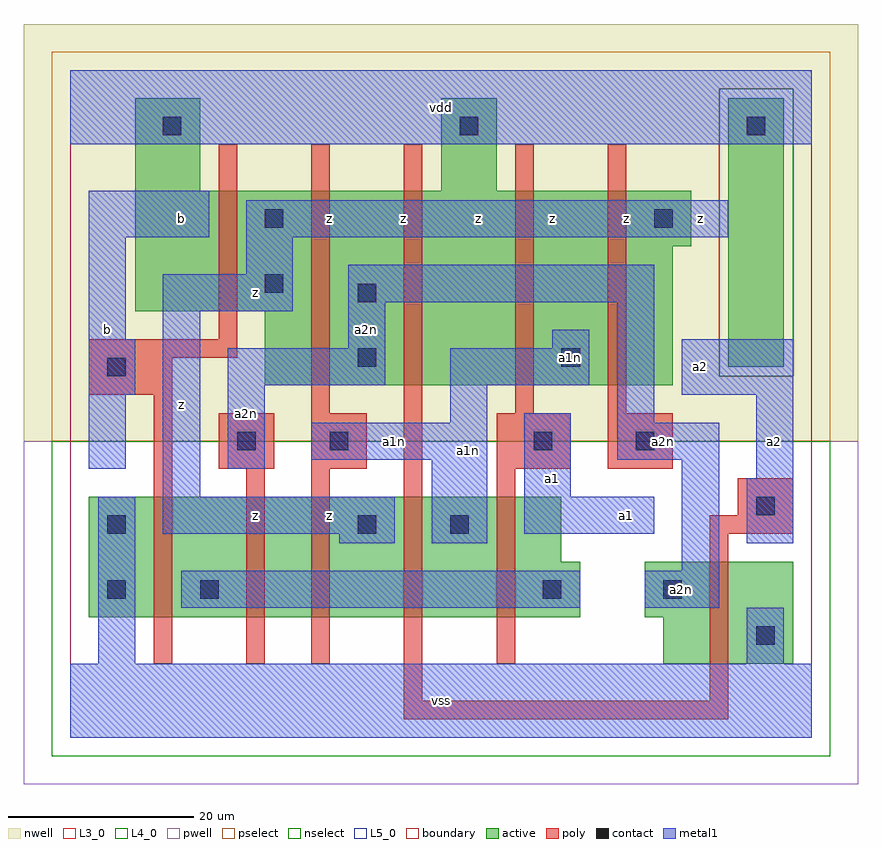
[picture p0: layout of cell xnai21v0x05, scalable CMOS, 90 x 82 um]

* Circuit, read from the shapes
.subckt xnai21v0x05 a1 a1n a2 a2n b vdd vss z
M1 n1 b vss VSUBS nfet w=13u l=2u
M2 n2 a2n n1 VSUBS nfet w=13u l=2u
M3 z a1n n2 VSUBS nfet w=13u l=2u
M4 a1n a2 z VSUBS nfet w=13u l=2u
M5 n1 a1 a1n VSUBS nfet w=13u l=2u
M6 vss a2 a2n VSUBS nfet w=11u l=2u
M7 z b vdd vdd pfet w=13u l=2u
M8 a2n a1n z vdd pfet w=21u l=2u
M9 vdd a2 a2n vdd pfet w=21u l=2u
M10 a1n a1 vdd vdd pfet w=21u l=2u
M11 z a2n a1n vdd pfet w=21u l=2u
.ends

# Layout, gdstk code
import gdstk
lib = gdstk.Library(unit=1e-6, precision=1e-09)
def R(c, l, rs):  # rectangles x0, y0, x1, y1
    for r in rs: c.add(gdstk.rectangle(r[:2], r[2:], *l))
L3_0 = (3, 0)
L4_0 = (4, 0)
L5_0 = (5, 0)
contact = (25, 0)
pwell = (41, 0)
nwell = (42, 0)
active = (43, 0)
pselect = (44, 0)
nselect = (45, 0)
poly = (46, 0)
metal1 = (49, 0)
boundary = (63, 0)

xnai21v0x05 = lib.new_cell('xnai21v0x05')
R(xnai21v0x05, L3_0, [(64,8,78,13), (2,13,55,19), (62,13,78,19), (2,19,53,26)])
R(xnai21v0x05, L4_0, [(21,38,65,46), (7,46,65,53), (7,53,67,59), (7,59,14,69), (40,59,46,69)])
R(xnai21v0x05, L5_0, [(71,40,77,69)])
R(xnai21v0x05, contact, [(74,10,76,12), (4,15,6,17), (14,15,16,17), (51,15,53,17), (64,15,66,17), (4,22,6,24), (31,22,33,24), (41,22,43,24), (74,24,76,26), (18,31,20,33), (28,31,30,33), (50,31,52,33), (61,31,63,33), (4,39,6,41), (31,40,33,42), (53,40,55,42), (31,47,33,49), (21,48,23,50), (21,55,23,57), (63,55,65,57), (10,65,12,67), (42,65,44,67), (73,65,75,67)])
R(xnai21v0x05, pwell, [(-5,-5,85,32)])
R(xnai21v0x05, nwell, [(-5,32,85,77)])
R(xnai21v0x05, active, [(64,8,78,13), (2,13,55,19), (62,13,78,19), (2,19,53,26), (21,38,65,46), (71,40,77,69), (7,46,65,53), (7,53,67,59), (7,59,14,69), (40,59,46,69)])
R(xnai21v0x05, pselect, [(-2,32,82,39), (-2,39,70,70), (78,39,82,70), (-2,70,82,74)])
R(xnai21v0x05, nselect, [(-2,-2,82,32), (70,39,78,70)])
R(xnai21v0x05, poly, [(36,2,71,4), (36,4,38,64), (69,4,71,22), (9,8,11,37), (19,8,21,29), (26,8,28,29), (46,8,48,29), (69,22,78,24), (72,24,78,28), (16,29,22,35), (26,29,32,35), (46,29,54,35), (58,29,65,35), (26,35,28,64), (48,35,50,64), (58,35,60,64), (2,37,11,41), (2,41,18,43), (16,43,18,64)])
R(xnai21v0x05, metal1, [(0,0,80,8), (3,8,7,26), (73,8,77,14), (12,14,55,18), (62,14,70,18), (66,18,70,30), (29,21,35,22), (39,21,45,30), (73,21,78,28), (10,22,35,26), (49,22,63,26), (10,26,14,46), (49,26,54,35), (74,28,78,37), (2,29,6,37), (17,29,21,38), (26,30,45,34), (59,30,70,34), (41,34,45,38), (59,34,63,47), (2,37,7,43), (66,37,78,43), (17,38,34,42), (41,38,56,42), (30,42,34,47), (52,42,56,44), (2,43,6,54), (10,46,24,50), (30,47,63,51), (19,50,24,54), (2,54,15,59), (19,54,71,58), (0,64,80,72)])
R(xnai21v0x05, boundary, [(0,0,80,72)])
xnai21v0x05.add(gdstk.Label('a2n', (19,35), layer=49, texttype=0))
xnai21v0x05.add(gdstk.Label('a2n', (32,44), layer=49, texttype=0))
xnai21v0x05.add(gdstk.Label('a1n', (35,32), layer=49, texttype=0))
xnai21v0x05.add(gdstk.Label('a1n', (43,31), layer=49, texttype=0))
xnai21v0x05.add(gdstk.Label('a1n', (54,41), layer=49, texttype=0))
xnai21v0x05.add(gdstk.Label('a2n', (66,16), layer=49, texttype=0))
xnai21v0x05.add(gdstk.Label('a2n', (64,32), layer=49, texttype=0))
xnai21v0x05.add(gdstk.Label('z', (12,36), layer=49, texttype=0))
xnai21v0x05.add(gdstk.Label('b', (4,44), layer=49, texttype=0))
xnai21v0x05.add(gdstk.Label('b', (12,56), layer=49, texttype=0))
xnai21v0x05.add(gdstk.Label('z', (20,24), layer=49, texttype=0))
xnai21v0x05.add(gdstk.Label('z', (28,24), layer=49, texttype=0))
xnai21v0x05.add(gdstk.Label('z', (20,48), layer=49, texttype=0))
xnai21v0x05.add(gdstk.Label('z', (28,56), layer=49, texttype=0))
xnai21v0x05.add(gdstk.Label('z', (36,56), layer=49, texttype=0))
xnai21v0x05.add(gdstk.Label('vss', (40,4), layer=49, texttype=0))
xnai21v0x05.add(gdstk.Label('a1', (52,28), layer=49, texttype=0))
xnai21v0x05.add(gdstk.Label('z', (52,56), layer=49, texttype=0))
xnai21v0x05.add(gdstk.Label('z', (44,56), layer=49, texttype=0))
xnai21v0x05.add(gdstk.Label('vdd', (40,68), layer=49, texttype=0))
xnai21v0x05.add(gdstk.Label('a1', (60,24), layer=49, texttype=0))
xnai21v0x05.add(gdstk.Label('a2', (76,32), layer=49, texttype=0))
xnai21v0x05.add(gdstk.Label('a2', (68,40), layer=49, texttype=0))
xnai21v0x05.add(gdstk.Label('z', (68,56), layer=49, texttype=0))
xnai21v0x05.add(gdstk.Label('z', (60,56), layer=49, texttype=0))

lib.write_gds('xnai21v0x05.gds')
